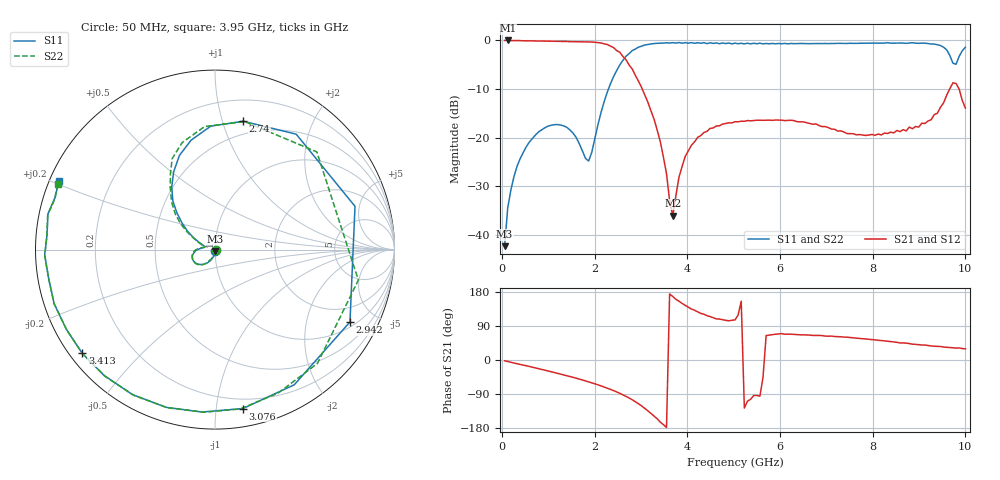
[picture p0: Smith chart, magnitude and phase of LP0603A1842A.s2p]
!	AVX THIN FILM OPERATION
!	LP0603 LOW PASS FILTERS
!	P/N LP0603A1842ALTR
!	Network	Analyzer	HP8720ES.07.64:	Feb	"23,"	2000	Serial	No.	US39172382
!	Hewlett-Packard
!	2	Feb	2004	02:33:11
!	Frequency	S11	S21	S12	S22
#	HZ	S	DB	R	50
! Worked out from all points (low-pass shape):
!   149 points, 50 MHz to 10 GHz, reference 50 ohm
!   highest |S21| = 0.00 dB at 117.2 MHz (marker M1); lowest = -36.1 dB at 3.682 GHz (marker M2)
!   |S21| within 3 dB of the highest: start of sweep to 2.582 GHz
!   lowest |S11| = -42.4 dB at 50 MHz (marker M3), VSWR 1.02, Z = 50 - j0.759 ohm
!   |S11| at or under -10 dB: start of sweep to 2.294 GHz
!   |S22| runs from -42.4 to -0.4 dB; largest |S21 - S12| = 0.058
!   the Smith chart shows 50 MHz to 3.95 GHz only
!   S11 on the Smith chart (normalised r, x): 50 MHz: 1.00, -0.02; 2.74 GHz: 0.38, +1.17; 2.942 GHz: 1.21, -3.60; 3.076 GHz: 0.13, -1.18; 3.413 GHz: 0.04, -0.34; 3.95 GHz: 0.03, +0.21
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5e7  -42.39 -89.2  0.00 -2.1  0.00 -2.2  -42.39 -40.4
1.1725e8  -34.52 -93.8  0.00 -3.8  0.00 -4.0  -34.52 -104.2
7.8975e8  -18.81 -133.3  -0.11 -23.1  -0.11 -23.0  -18.81 -132.2
1.73125e9  -22.78 172.6  -0.27 -52.8  -0.27 -52.7  -22.78 170.7
1.86575e9  -24.85 164.2  -0.31 -57.7  -0.31 -57.6  -24.85 164.3
2.53825e9  -5.03 110.8  -2.43 -87.9  -2.43 -89.5  -5.03 115.2
2.74e9  -2.71 77.6  -5.07 -100.3  -5.07 -100.6  -2.71 76.9
2.80725e9  -2.09 54.9  -5.88 -105.0  -5.88 -105.8  -2.09 43.8
2.8745e9  -1.76 17.2  -7.20 -110.1  -7.20 -110.5  -1.76 -12.0
2.94175e9  -1.38 -28.2  -8.39 -115.4  -8.39 -115.6  -1.38 -48.0
3.07625e9  -0.93 -80.0  -11.18 -127.5  -11.18 -128.0  -0.93 -80.9
3.4125e9  -0.55 -142.0  -20.82 -163.9  -20.82 -162.7  -0.55 -141.6
3.6815e9  -0.45 -178.3  -36.11 167.7  -36.11 161.4  -0.45 -177.9
3.9505e9  -0.44 156.2  -23.92 144.3  -23.92 138.8  -0.44 157.2
5.0265e9  -0.55 97.8  -16.74 105.8  -16.74 108.3  -0.55 98.2
5.49725e9  -0.68 79.9  -16.43 -93.6  -16.43 -101.2  -0.68 78.8
5.699e9  -0.62 72.8  -16.43 64.5  -16.43 42.2  -0.62 71.2
6.70775e9  -0.64 40.1  -17.26 64.9  -17.26 67.6  -0.64 38.3
8.389e9  -0.55 -9.0  -18.89 48.6  -18.89 46.5  -0.55 -8.7
9.26325e9  -0.73 -32.7  -16.33 37.1  -16.33 36.5  -0.73 -31.9
9.734e9  -4.68 -45.5  -8.72 32.1  -8.72 31.7  -4.68 -43.7
1.0003e10  -1.40 -52.1  -13.94 29.4  -13.94 27.4  -1.40 -51.6
